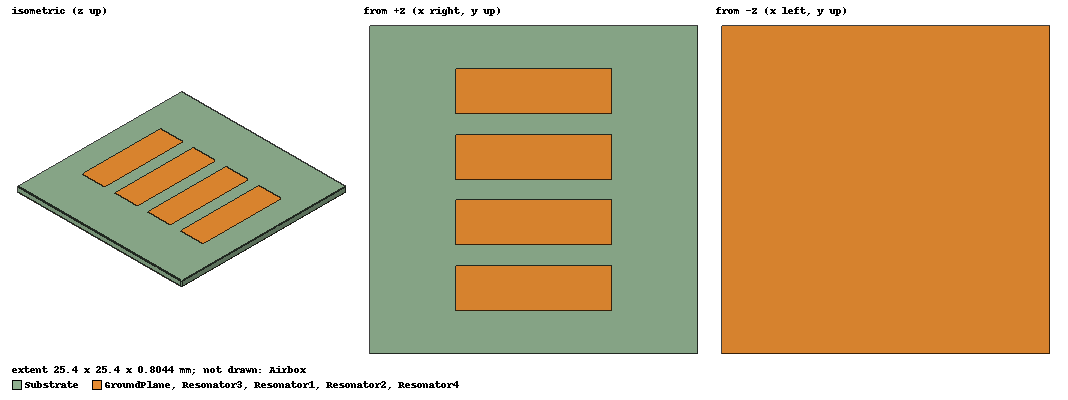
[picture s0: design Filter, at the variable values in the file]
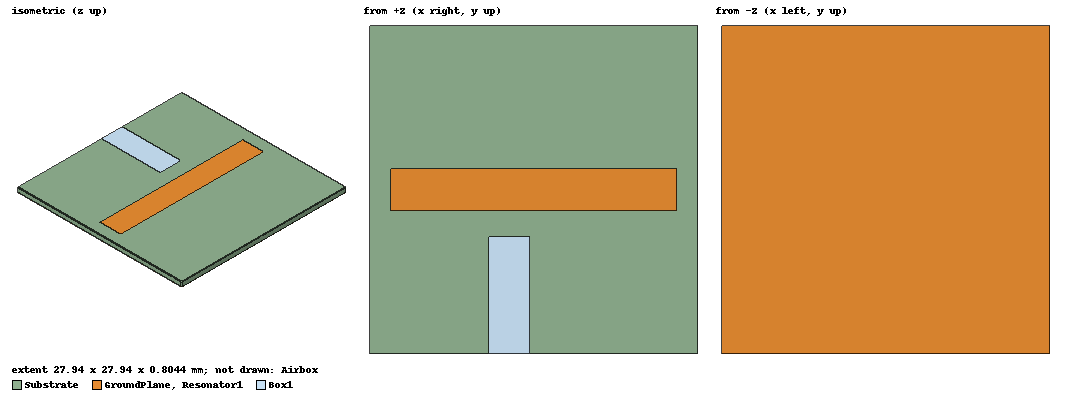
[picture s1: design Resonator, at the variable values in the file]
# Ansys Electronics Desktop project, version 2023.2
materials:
  vacuum: permittivity=1
  Rogers RO4003 (tm): permittivity=3.55 dielectric_loss_tangent=0.0027
  copper: permeability=0.999991 conductivity=58000000

design Filter (HFSS, HFSS Modal Network, model units mm)
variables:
  AirboxWidth = 1000mil
  MicrostripWidth = 3.5mm
  Thickness = 31mil
  Coupling = 3mm
  MicrostripLength = 12.154647mm
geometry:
  Substrate [Rogers RO4003 (tm)] = box(corner=(0mm, 0mm, 17um), size=(AirboxWidth, AirboxWidth, Thickness-17um))
  Airbox [vacuum] = box(corner=(0mm, 0mm, 0mm), size=(Airboxwidth, AirboxWidth, 100mil))
  Resonator1 [copper] = box(corner=((AirboxWidth/2) - (MicrostripLength/2), (1/5)*AirboxWidth - (MicrostripWidth / 2), Thickness), size=(MicrostripLength, MicrostripWidth, 17um))
  GroundPlane [copper] = box(corner=(0mm, 0mm, 0mm), size=(AirboxWidth, AirboxWidth, 17um))
  Resonator2 [copper] = box(corner=((AirboxWidth/2) - (MicrostripLength/2), (2/5)*AirboxWidth - (MicrostripWidth / 2), Thickness), size=(MicrostripLength, MicrostripWidth, 17um))
  Resonator3 [copper] = box(corner=((AirboxWidth/2) - (MicrostripLength/2), (3/5)*AirboxWidth - (MicrostripWidth / 2), Thickness), size=(MicrostripLength, MicrostripWidth, 17um))
  Resonator4 [copper] = box(corner=((AirboxWidth/2) - (MicrostripLength/2), (4/5)*AirboxWidth - (MicrostripWidth / 2), Thickness), size=(MicrostripLength, MicrostripWidth, 17um))
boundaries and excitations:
  Rad1: Radiation Faces=Airbox.face(+z)
  1: Wave Port Faces=Airbox.face(-y) WavePortType=Modal NumModes=1 Modes{Mode1{CharImp=Zpi}}
  2: Wave Port Faces=Airbox.face(+y) WavePortType=Modal NumModes=1 Modes{Mode1{CharImp=Zpi}}
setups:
  Setup1: HfssDriven Frequency=3.6GHz MaxDeltaS=0.005 MaximumPasses=10 MinimumPasses=1 MinimumConvergedPasses=1 PercentRefinement=30 BasisOrder=1 PortAccuracy=2 DrivenSolverType="Direct Solver"
    sweep Sweep: 1.8GHz to 5.4GHz, 401 points; Type=Interpolating InterpTolerance=0.5 InterpMaxSolns=250 InterpUsePortImped=false PassivityErrorTolerance=0.0001
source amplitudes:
  1:1: 1V 0deg
  2:1: 0V 0deg
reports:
  S Parameter Plot 1: dB(S(1,1)) vs Freq on Setup1 : Sweep
  S Parameter Plot 2: dB(S(2,1)) vs Freq on Setup1 : Sweep

design Resonator (HFSS, HFSS Modal Network, model units mm)
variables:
  AirboxWidth = 1100mil
  MicrostripWidth = 3.5mm
  Thickness = 31mil
  Coupling = 3mm
  MicrostripLength = 24.309294mm
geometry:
  Substrate [Rogers RO4003 (tm)] = box(corner=(0mm, 0mm, 17um), size=(AirboxWidth, AirboxWidth, Thickness-17um))
  Airbox [vacuum] = box(corner=(0mm, 0mm, 0mm), size=(Airboxwidth, AirboxWidth, 100mil))
  Resonator1 [copper] = box(corner=((AirboxWidth/2) - (MicrostripLength/2), (1/2)*AirboxWidth - (MicrostripWidth / 2), Thickness), size=(MicrostripLength, MicrostripWidth, 17um))
  GroundPlane [copper] = box(corner=(0mm, 0mm, 0mm), size=(AirboxWidth, AirboxWidth, 17um))
  Box1 [vacuum] = box(corner=(10.16mm, 0mm, Thickness), size=(3.5mm, 10mm, 17um))
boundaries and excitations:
  Rad1: Radiation Faces=Airbox.face(+z)
  1: Wave Port Faces=Airbox.face(-y) WavePortType=Modal NumModes=1 Modes{Mode1{CharImp=Zpi}}
  2: Wave Port Faces=Airbox.face(+y) WavePortType=Modal NumModes=1 Modes{Mode1{CharImp=Zpi}}
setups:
  Setup1: HfssDriven Frequency=3.6GHz MaxDeltaS=0.005 MaximumPasses=10 MinimumPasses=1 MinimumConvergedPasses=1 PercentRefinement=30 BasisOrder=1 PortAccuracy=2 DrivenSolverType="Direct Solver"
    sweep Sweep: 1.8GHz to 5.4GHz, 401 points; Type=Interpolating InterpTolerance=0.5 InterpMaxSolns=250 InterpUsePortImped=false PassivityErrorTolerance=0.0001
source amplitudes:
  1:1: 1V 0deg
  2:1: 0V 0deg
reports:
  S Parameter Plot 1: dB(S(1,1)) vs Freq on Setup1 : Sweep
  S Parameter Plot 2: dB(S(2,1)) vs Freq on Setup1 : Sweep
